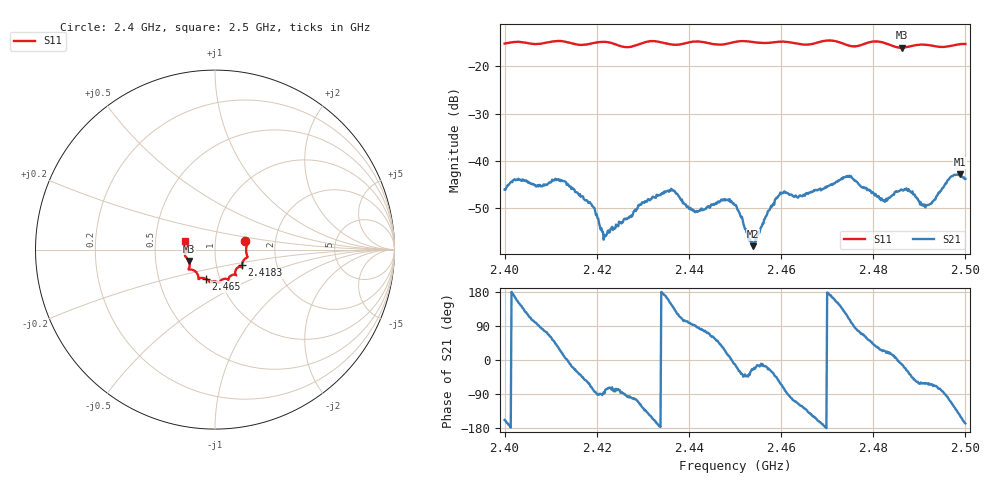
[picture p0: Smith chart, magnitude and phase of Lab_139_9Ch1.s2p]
# Hz S RI R 50
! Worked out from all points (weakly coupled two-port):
!   601 points, 2.4 GHz to 2.5 GHz, reference 50 ohm
!   highest |S21| = -42.92 dB at 2.4988 GHz (marker M1); lowest = -58.1 dB at 2.4538 GHz (marker M2)
!   lowest |S11| = -16.0 dB at 2.4862 GHz (marker M3), VSWR 1.38, Z = 37.1 - j4.82 ohm
!   |S11| at or under -10 dB: start of sweep to end of sweep
!   S12 and S22 are empty: the file has one direction only
!   S11 on the Smith chart (normalised r, x): 2.4 GHz: 1.40, +0.13; 2.4183 GHz: 1.33, -0.24; 2.465 GHz: 0.86, -0.29; 2.5 GHz: 0.71, +0.07
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2.4e9  0.1689 0.0456  -0.00457 -0.00183  0 0  0 0
2.4025e9  0.1794 0.0347  -0.00588 0.00204  0 0  0 0
2.4115e9  0.1817 -0.0411  0.00513 0.00369  0 0  0 0
2.416667e9  0.1548 -0.0682  0.00307 -0.00283  0 0  0 0
2.418333e9  0.1501 -0.0866  0.00171 -0.00317  0 0  0 0
2.421833e9  0.1526 -0.0999  0.000297 -0.00154  0 0  0 0
2.433333e9  0.1169 -0.1412  -0.00421 -0.000706  0 0  0 0
2.4365e9  0.0946 -0.142  -0.00379 0.00307  0 0  0 0
2.441667e9  0.0742 -0.1687  0.000171 0.00293  0 0  0 0
2.4475e9  0.0392 -0.1671  0.00328 0.00197  0 0  0 0
2.45e9  0.0251 -0.1807  0.0033 -0.000698  0 0  0 0
2.453833e9  0.0151 -0.1814  0.00111 -0.000549  0 0  0 0
2.4595e9  -0.026 -0.1811  0.00243 -0.00347  0 0  0 0
2.465e9  -0.0526 -0.1623  -0.00267 -0.00344  0 0  0 0
2.466667e9  -0.0714 -0.1576  -0.00381 -0.00262  0 0  0 0
2.474667e9  -0.0992 -0.134  -0.00225 0.00637  0 0  0 0
2.483333e9  -0.1422 -0.0961  0.00386 0.00122  0 0  0 0
2.486167e9  -0.1447 -0.0633  0.00485 -0.000911  0 0  0 0
2.491833e9  -0.1666 -0.0288  0.00163 -0.00297  0 0  0 0
2.496667e9  -0.1628 0.0242  -0.00201 -0.00631  0 0  0 0
2.498833e9  -0.1675 0.0413  -0.00596 -0.00393  0 0  0 0
2.5e9  -0.1668 0.047  -0.00624 -0.00141  0 0  0 0
